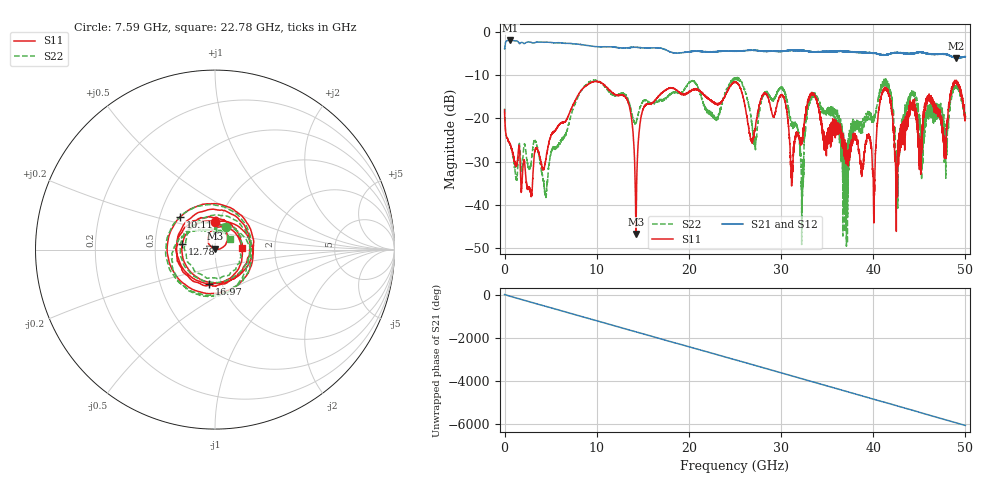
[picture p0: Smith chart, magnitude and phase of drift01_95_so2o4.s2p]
!Created with skrf (http://scikit-rf.org).
# Hz S RI R 50.0
!freq ReS11 ImS11 ReS21 ImS21 ReS12 ImS12 ReS22 ImS22
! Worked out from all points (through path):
!   10001 points, 300 kHz to 50 GHz, reference 50 ohm
!   highest |S21| = -2.00 dB at 625.3 MHz (marker M1); lowest = -6.1 dB at 48.98 GHz (marker M2)
!   group delay of S21, straight-line fit = 336 ps
!   lowest |S11| = -46.7 dB at 14.25 GHz (marker M3), VSWR 1.01, Z = 50.1 + j0.45 ohm
!   |S11| at or under -10 dB: start of sweep to end of sweep
!   |S22| runs from -49.6 to -10.6 dB; largest |S21 - S12| = 0.023
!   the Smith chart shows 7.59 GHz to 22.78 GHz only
!   S11 on the Smith chart (normalised r, x): 7.59 GHz: 0.95, +0.30; 10.11 GHz: 0.63, +0.25; 12.78 GHz: 0.69, +0.04; 16.97 GHz: 0.88, -0.35; 22.78 GHz: 1.35, +0.02
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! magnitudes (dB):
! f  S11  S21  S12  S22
! 300 kHz  -18.0  -3.9  -4.0  -17.8
! 625.3 MHz  -26.0  -2.0  -2.0  -26.1
! 4.435 GHz  -30.0  -2.4  -2.4  -37.3
! 7.59 GHz  -16.2  -2.8  -2.8  -17.0
! 8.335 GHz  -13.5  -3.0  -3.0  -13.5
! 10.11 GHz  -11.5  -3.5  -3.5  -11.3
! 12.78 GHz  -14.7  -3.8  -3.8  -14.3
! 14.25 GHz  -46.7  -3.6  -3.6  -21.1
! 16.67 GHz  -14.9  -3.7  -3.7  -15.8
! 16.97 GHz  -14.3  -3.8  -3.8  -15.6
! 22.78 GHz  -16.5  -4.6  -4.6  -20.0
! 25 GHz  -11.6  -4.5  -4.5  -10.9
! 27.15 GHz  -22.4  -4.3  -4.3  -25.8
! 30.21 GHz  -14.9  -4.5  -4.5  -13.3
! 32.25 GHz  -24.9  -4.3  -4.3  -40.5
! 33.34 GHz  -14.3  -4.6  -4.6  -14.4
! 37.03 GHz  -26.8  -4.5  -4.5  -30.1
! 40.07 GHz  -42.9  -4.9  -4.9  -20.0
! 41.67 GHz  -14.2  -5.1  -5.2  -12.9
! 42.56 GHz  -33.6  -4.9  -4.8  -27.9
! 48.98 GHz  -11.4  -6.1  -6.0  -12.8
! 50 GHz  -19.6  -5.7  -5.8  -19.8
